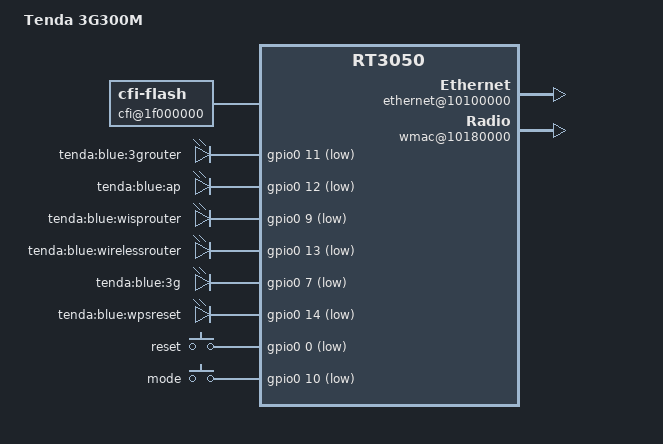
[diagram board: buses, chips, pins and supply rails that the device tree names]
/dts-v1/;

/include/ "rt3050.dtsi"

/ {
	#address-cells = <1>;
	#size-cells = <1>;
	compatible = "3G300M", "ralink,rt3050-soc";
	model = "Tenda 3G300M";

	memorydetect {
		ralink,memory = <0x0 0x200000 0x4000000>;
	};

	chosen {
		bootargs = "console=ttyS0,57600 mtdparts=1f000000.cfi:192k(u-boot)ro,64k(u-boot-env)ro,64k(factory)ro,3872k@0x50000(firmware)";
	};

	palmbus@10000000 {
		sysc@0 {
			ralink,pinmmux = "i2c", "spi", "uartlite", "mdio", "sdram", "rgmii", "jtag";
			ralink,uartmux = "gpio";
			ralink,wdtmux = <1>;
		};

		gpio0: gpio@600 {
			status = "okay";
		};
	};

	cfi@1f000000 {
		compatible = "cfi-flash";
		reg = <0x1f000000 0x800000>;

		bank-width = <2>;
		device-width = <2>;
		#address-cells = <1>;
		#size-cells = <1>;
	};

	gpio-leds {
		compatible = "gpio-leds";
		3grouter {
			label = "tenda:blue:3grouter";
			gpios = <&gpio0 11 1>;
		};
		ap {
			label = "tenda:blue:ap";
			gpios = <&gpio0 12 1>;
		};
		wisprouter {
			label = "tenda:blue:wisprouter";
			gpios = <&gpio0 9 1>;
		};
		wirelessrouter {
			label = "tenda:blue:wirelessrouter";
			gpios = <&gpio0 13 1>;
		};
		3g {
			label = "tenda:blue:3g";
			gpios = <&gpio0 7 1>;
		};
		wpsreset {
			label = "tenda:blue:wpsreset";
			gpios = <&gpio0 14 1>;
		};
	};

	gpio-keys-polled {
		compatible = "gpio-keys-polled";
		#address-cells = <1>;
		#size-cells = <0>;
		poll-interval = <20>;
		reset {
			label = "reset";
			gpios = <&gpio0 0 1>;
			linux,code = <0x198>;
		};
		mode {
			label = "mode";
			gpios = <&gpio0 10 1>;
			linux,code = <0x100>;
		};
	};

	ethernet@10100000 {
		status = "okay";
	};

	esw@10110000 {
		status = "okay";
		ralink,portmap = <0x2f>;
	};

	wmac@10180000 {
		status = "okay";
	};
};
